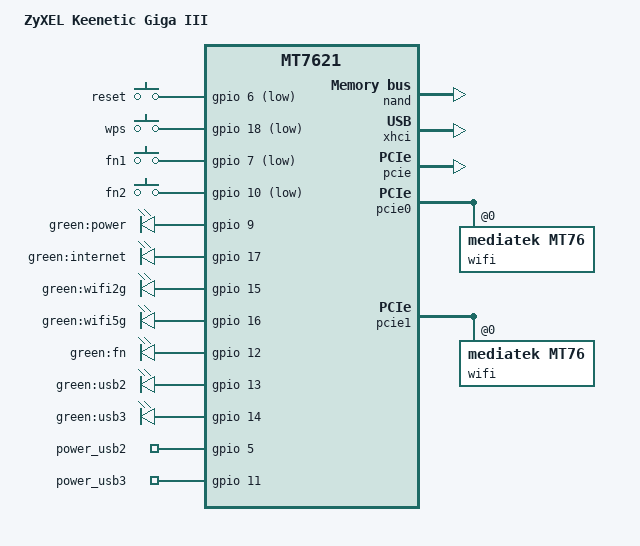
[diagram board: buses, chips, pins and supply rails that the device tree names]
#include "mt7621.dtsi"

#include <dt-bindings/gpio/gpio.h>
#include <dt-bindings/input/input.h>

/ {
	compatible = "zyxel,keenetic-giga-iii", "mediatek,mt7621-soc";
	model = "ZyXEL Keenetic Giga III";

	aliases {
		label-mac-device = &gmac0;
		led-boot = &led_power;
		led-failsafe = &led_power;
		led-running = &led_power;
		led-upgrade = &led_power;
	};

	chosen {
		bootargs = "console=ttyS0,57600n8";
	};

	keys-polled {
		compatible = "gpio-keys-polled";
		#address-cells = <1>;
		#size-cells = <0>;
		poll-interval = <20>;

		reset {
			label = "reset";
			gpios = <&gpio 6 GPIO_ACTIVE_LOW>;
			linux,code = <KEY_RESTART>;
			/* debounce-interval = <60>; */
		};

		wps {
			label = "wps";
			gpios = <&gpio 18 GPIO_ACTIVE_LOW>;
			linux,code = <KEY_WPS_BUTTON>;
		};

		fn1 {
			label = "fn1";
			gpios = <&gpio 7 GPIO_ACTIVE_LOW>;
			linux,code = <BTN_0>;
		};

		fn2 {
			label = "fn2";
			gpios = <&gpio 10 GPIO_ACTIVE_LOW>;
			linux,code = <BTN_1>;
		};
	};

	leds {
		compatible = "gpio-leds";

		led_power: power {
			label = "green:power";
			gpios = <&gpio 9 GPIO_ACTIVE_HIGH>;
			default-state = "keep";
		};

		internet { /* WAN */
			label = "green:internet";
			gpios = <&gpio 17 GPIO_ACTIVE_HIGH>;
		};

		wifi2g {
			label = "green:wifi2g";
			gpios = <&gpio 15 GPIO_ACTIVE_HIGH>;
			linux,default-trigger = "phy0tpt";
		};

		wifi5g {
			label = "green:wifi5g";
			gpios = <&gpio 16 GPIO_ACTIVE_HIGH>;
			linux,default-trigger = "phy1tpt";
		};

		fn {
			label = "green:fn";
			gpios = <&gpio 12 GPIO_ACTIVE_HIGH>;
		};

		usb2 {
			label = "green:usb2";
			gpios = <&gpio 13 GPIO_ACTIVE_HIGH>;
			trigger-sources = <&ehci_port2>;
			linux,default-trigger = "usbport";
		};

		usb3 {
			label = "green:usb3";
			gpios = <&gpio 14 GPIO_ACTIVE_HIGH>;
			trigger-sources = <&xhci_ehci_port1>;
			linux,default-trigger = "usbport";
		};
	};

	gpio_export {
		compatible = "gpio-export";
		#size-cells = <0>;

		power_usb2 {
			gpio-export,name = "power_usb2";
			gpio-export,output = <0>;
			gpios = <&gpio 5 GPIO_ACTIVE_HIGH>;
		};
		
		power_usb3 {
			gpio-export,name = "power_usb3";
			gpio-export,output = <0>;
			gpios = <&gpio 11 GPIO_ACTIVE_HIGH>;
		};
	};
};

&nand {
	status = "okay";
	partitions {
		compatible = "fixed-partitions";
		#address-cells = <1>;
		#size-cells = <1>;

		partition@0 {
			label = "u-boot";
			reg = <0x0 0x80000>; // 512 KB
			read-only;
		};

		partition@80000 {
			label = "u-boot-env";
			reg = <0x80000 0x80000>; // 512 KB
			read-only;
		};

		factory: partition@100000 {
			label = "factory";
			reg = <0x100000 0x80000>; // 512 KB
			read-only;
		};

		/* U-Boot 1.1.3 expects to find kernel image at 0x180000 */
		partition@180000 {
			label = "firmware";  // for revert to stock: mtd -r -f write /tmp/fw_factory.bin firmware
			reg = <0x180000 0x7A80000>; // 122 MB

			compatible = "fixed-partitions";
			#address-cells = <1>;
			#size-cells = <1>;

			partition@0 {
				label = "kernel";
				reg = <0x0 0x400000>; // 4 MB
			};

			partition@400000 {
				label = "ubi"; // special name for creating UBIFS
				reg = <0x400000 0x7680000>; // 118 MB
			};
		};

		/* U-Boot 1.1.3 used latest 32 BLOCK for factory bbt table */
		partition@7C00000 { // 128MiB - 32*128KiB = 0x7C00000
			label = "mtk-nand-bbt";
			reg = <0x7C00000 0x400000>; // 4 MB
			read-only;
		};
	};
};

&xhci {
	status = "okay";
};

&pcie {
	status = "okay";
};

&pcie0 { /* MT7602EN wifi2 */
	wifi@0,0 {
		/* compatible = "pci14c3,7602"; */
		compatible = "mediatek,mt76";
		reg = <0x0000 0 0 0 0>;
		mediatek,mtd-eeprom = <&factory 0x0000>;
		nvmem-cells = <&macaddr_factory_4>;
		nvmem-cell-names = "mac-address";
		ieee80211-freq-limit = <2400000 2500000>;
	};
};

&pcie1 { /* MT7612EN wifi5 */
	wifi@0,0 {
		/* compatible = "pci14c3,7662"; */
		compatible = "mediatek,mt76";
		reg = <0x0000 0 0 0 0>;
		mediatek,mtd-eeprom = <&factory 0x8000>;
		nvmem-cells = <&macaddr_factory_8004>;
		nvmem-cell-names = "mac-address";
		ieee80211-freq-limit = <5000000 6000000>;
	};
};

&gmac0 {
	nvmem-cells = <&macaddr_factory_28>;
	nvmem-cell-names = "mac-address";
};

&switch0 {
	ports {
		port@0 {
			status = "okay";
			label = "lan4";
		};

		port@1 {
			status = "okay";
			label = "lan3";
		};

		port@2 {
			status = "okay";
			label = "lan2";
		};

		port@3 {
			status = "okay";
			label = "lan1";
		};

		port@4 {
			status = "okay";
			label = "wan";
			nvmem-cells = <&macaddr_factory_28>;
			nvmem-cell-names = "mac-address";
		};
	};
};

&state_default {
	gpio {
		groups = "i2c", "uart2", "uart3", "rgmii2", "jtag";
		function = "gpio";
	};
};

&factory {
	compatible = "nvmem-cells";
	#address-cells = <1>;
	#size-cells = <1>;

	macaddr_factory_4: macaddr@4 { /* wifi2 mac (wan - 1) */
		reg = <0x4 0x6>;
	};

	macaddr_factory_28: macaddr@28 { /* WAN mac (LABEL) */
		reg = <0x28 0x6>;
	};

	macaddr_factory_8004: macaddr@8004 { /* wifi5 mac (wan + 1) */
		reg = <0x8004 0x6>;
	};
	
	macaddr_factory_e000: macaddr@e000 {
		reg = <0xe000 0x6>;
	};

	macaddr_factory_e006: macaddr@e006 {
		reg = <0xe006 0x6>;
	};
};
